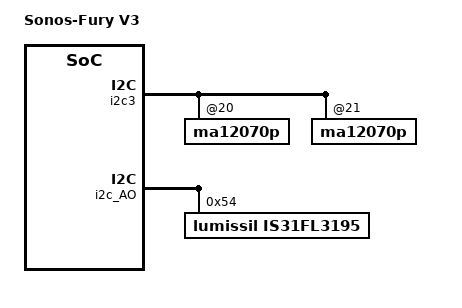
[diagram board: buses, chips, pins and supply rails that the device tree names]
/*
 * Copyright (c) 2020-2021, Sonos, Inc.
 *
 * SPDX-License-Identifier:     GPL-2.0
 */
/* Fury HW versions
 *      V0 - fury_v0.dts - Fury P0,P1 builds
 *      V1 - fury_v1.dts - Fury P2a,P2b,EVT,DVT builds
 *      V2 - fury_v2.dts    - Fury DVT2 (ReQual) build
 *      V3 - fury_v3.dts - Fury, in MP, replacing lp5562 with lumissil 3195
 */
/dts-v1/;

#include "fury_common.dtsi"

/ {
	model = "Sonos-Fury V3";

	sonos-platform {
		sonos-ampctl {
			hw-inits-index = <5>; /* verify index after support is added to amperctl */
			hw-exits-index = <5>; /* verify index after support is added to amperctl */

			sonos-ampfaults {
				ampfault@0 {
					fault-gpio = <&gpio GPIOA_17 GPIO_ACTIVE_LOW>;
				};

			};
		};
	};

	auge_sound {
		aml-audio-card,dai-link@0 {
			format = "i2s";
			/delete-property/ bitclock-inversion;
			cpu {
				dai-tdm-slot-tx-mask = <1 1>;
				dai-tdm-slot-num = <2>;
				system-clock-frequency = <12288000>;
			};
			codec {
				prefix-names = "Sonos i2s out";
			};
		};
	};

	psmon {
		amp-mute-shutdown-gpio = <&gpio GPIOA_18 GPIO_ACTIVE_LOW>;
		amp-hiz-shutdown-gpio = <&gpio GPIOA_16 GPIO_ACTIVE_HIGH>;
	};
}; /* end of / */

&audiobus {
	aml_tdmc: tdmc {
		dai-tdm-lane-slot-mask-out = <1 1 0 0>;
	};
};

&i2c1 {
	cputempsensor: tmp102@48 {
		status = "disable";
	};
};

&i2c3 {
	amp1: tas5825@4c {
		status = "disable";
	};

	amp2: tas5825@4d {
		status = "disable";
	};
	ma12070p@20 {
		status = "okay";
	};

	ma12070p@21 {
		status = "okay";
	};

};

&i2c_AO {
        /delete-node/lp5562@30;

        is31fl3195@54 {  // LED controller
                compatible = "lumissil,is31fl3195";
                reg = <0x54>;
        };
};

&pinctrl_periphs {
	tdmout_c:tdmout_c {
		mux {
			groups = "tdmc_sclk",
				"tdmc_fs",
				"tdmc_dout0",
				"tdmc_dout1";
		};
	};
};
